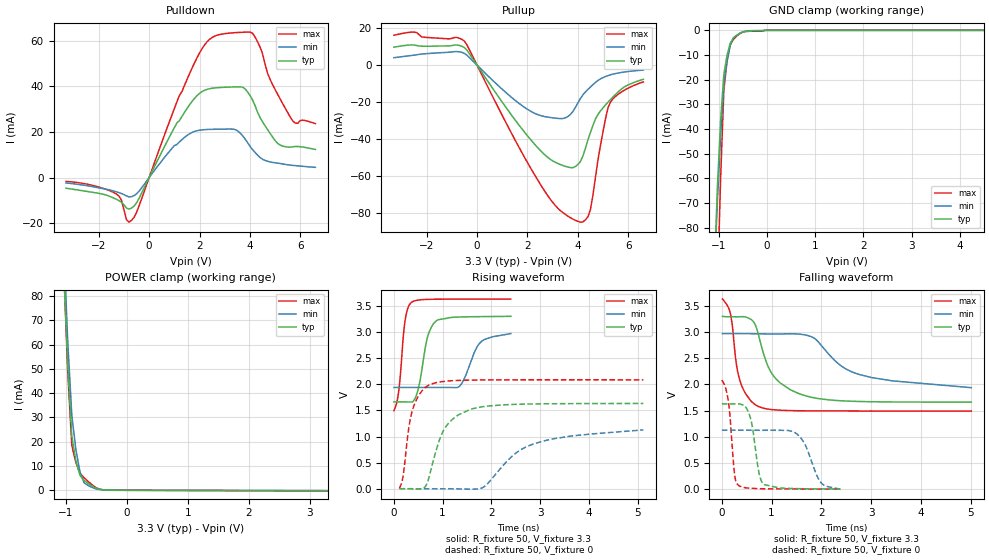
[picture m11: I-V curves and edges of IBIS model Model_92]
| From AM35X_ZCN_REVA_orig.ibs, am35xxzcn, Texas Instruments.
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| Model based on original model for BQ1833DV50BTPBFZP18LL_7LM_X50
|   Sub model LL_7LM_X50_PU_ON_3P3
[model]   Model_92
|[Description]  3.3V-I/O-PU-X
|[Input Load]   PU
|[Output Drive]
|Voltage   3.3V
|Mode   I/O
Model_type   I/O
Polarity   Non-Inverting
Enable   Active-Low
Vinl =  0.8V
Vinh =  2V
Cref =  15pF
Rref =  100.0000M
Vref =  0V
Vmeas =  1.65
C_comp   1.683006p   1.492615p   1.787227p
[Model Spec]
Vinl   0.8V   0.8V   0.8V
Vinh   2V   2V   2V
[Temperature Range]   25   125   -40
[Voltage Range]   3.3   2.97   3.63
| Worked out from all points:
|   slope of the pulldown table from 0 to 0.495 V, typ, clamps not added: 44.5 ohm
|   slope of the pullup table from 0 to 0.495 V, typ, clamps not added: 49.1 ohm
|   GND clamp passes 1 mA (typ) near -0.54 V on its own axis
|   POWER clamp passes 1 mA (typ) near -0.51 V on its own axis
|   rising waveform, R_fixture 50, V_fixture 3.3: 20-80 % time 195ps typ, 279ps min, 122ps max; typ from 1.66 V to 3.3 V
|   rising waveform, R_fixture 50, V_fixture 0: 20-80 % time 425ps typ, 985ps min, 232ps max; typ from 0.004 V to 1.63 V
|   falling waveform, R_fixture 50, V_fixture 3.3: 20-80 % time 506ps typ, 970ps min, 226ps max; typ from 3.3 V to 1.66 V
|   falling waveform, R_fixture 50, V_fixture 0: 20-80 % time 155ps typ, 285ps min, 110ps max; typ from 1.63 V to 0.004 V
[POWER_clamp]
-3.3V     2.414A     2.856A     2.597A
-1.033V   91.31mA    100.7mA    91.95mA
-966.7mV  51.54mA    61.16mA    48.61mA
-900mV    22.22mA    30.81mA    18.41mA
-833.3mV  12.23mA    16.81mA    11.41mA
-766.7mV  6.164mA    7.579mA    7.005mA
-700mV    4.037mA    3.125mA    5.188mA
-566.7mV  1.798mA    1.149mA    2.234mA
-500mV    861.2uA    550uA      976.7uA
-433.3mV  389uA      264.1uA    415.9uA
-300mV    24.95uA    21.88uA    29.19uA
3.3V      -177.5uA   -135.7uA   -277.3uA
[Pulldown]
-3.3V     -4.669mA   -2.345mA   -1.683mA
-1.3V     -9.527mA   -6.237mA   -7.18mA
-900mV    -13.33mA   -8.044mA   -18.4mA
-700mV    -13.38mA   -8.364mA   -18.74mA
1.8V      34.72mA    20.23mA    50.28mA
2.3V      38.67mA    21.09mA    59.54mA
2.8V      39.47mA    21.22mA    62.74mA
3.5V      39.76mA    20.55mA    63.58mA
4.1V      34.11mA    12.32mA    63.3mA
5V        16.21mA    6.486mA    38.59mA
5.7V      13.47mA    5.354mA    24.85mA
6.6V      12.34mA    4.484mA    23.64mA
[Pullup]
-3.3V     9.738mA    4.045mA    16.21mA
-2.5V     10.91mA    5.432mA    17.94mA
-500mV    9.5mA      6.347mA    12.96mA
1.4V      -27.68mA   -17.82mA   -37.78mA
2.4V      -44.64mA   -26.76mA   -62.11mA
3.5V      -54.84mA   -28.6mA    -80.92mA
4.1V      -52.27mA   -18.13mA   -85.16mA
4.5V      -36.47mA   -11.82mA   -78.34mA
5V        -23.1mA    -6.724mA   -36.03mA
5.2V      -20.04mA   -5.652mA   -22.93mA
5.3V      -18.59mA   -5.203mA   -19.89mA
6.6V      -7.68mA    -2.683mA   -9.05mA
[GND_clamp]
-3.3V     -1.975A    -1.766A    -3.378A
-1.1V     -99.48mA   -100.9mA   -162.1mA
-1.033V   -63.84mA   -69.36mA   -106.2mA
-966.7mV  -36.69mA   -43.1mA    -60.36mA
-900mV    -18.03mA   -22.07mA   -24.57mA
-833.3mV  -10.17mA   -12.45mA   -12.64mA
-766.7mV  -5.227mA   -6.105mA   -5.683mA
-700mV    -3.195mA   -3.025mA   -3.716mA
-566.7mV  -1.239mA   -1.189mA   -1.328mA
-500mV    -580.8uA   -609.1uA   -631uA
-33.33mV  0A         0A         0A
6.6V      0A         0A         0A
[Ramp]
dV/dt_f 0.98252049/0.49548542n  0.6183508/0.96014624n  1.2814726/0.22462786n
dV/dt_r 0.98259654/0.4236438n 0.68007419/0.97384101n  1.2529834/0.23145144n
R_load = 50
[Rising Waveform]
R_fixture = 50
V_fixture = 3.3
V_fixture_min = 2.97
V_fixture_max = 3.63
2.169ps   1.662V     1.939V     1.494V
108.3ps   1.662V     1.939V     1.927V
231.1ps   1.662V     1.939V     3.214V
358.4ps   1.661V     1.939V     3.564V
497.7ps   1.9V       1.939V     3.61V
701.9ps   2.938V     1.939V     3.624V
872.9ps   3.215V     1.939V     3.627V
1.334ns   3.286V     1.953V     3.629V
1.78ns    3.294V     2.805V     3.63V
2.399ns   3.3V       2.97V      3.63V
[Rising Waveform]
R_fixture = 50
V_fixture = 0
V_fixture_min = 0
V_fixture_max = 0
116.9ps   4.128mV    2.524mV    5.94mV
187.8ps   4.131mV    2.524mV    231mV
303.9ps   3.865mV    2.524mV    1.141V
388ps     369.2uV    2.524mV    1.525V
618.6ps   19.54mV    2.524mV    1.917V
738.9ps   282.2mV    2.524mV    1.993V
1.036ns   1.146V     2.535mV    2.057V
1.567ns   1.52V      -5.015mV   2.08V
2.871ns   1.624V     861.9mV    2.086V
5.117ns   1.634V     1.128V     2.085V
[Falling Waveform]
R_fixture = 50
V_fixture = 3.3
V_fixture_min = 2.97
V_fixture_max = 3.63
12.97ps   3.3V       2.97V      3.63V
173ps     3.292V     2.97V      3.347V
293.2ps   3.291V     2.97V      2.383V
373.4ps   3.293V     2.97V      2.045V
625.5ps   3.209V     2.968V     1.649V
738.6ps   2.94V      2.966V     1.579V
1.042ns   2.159V     2.964V     1.518V
1.668ns   1.789V     2.947V     1.497V
2.753ns   1.676V     2.193V     1.494V
5.013ns   1.662V     1.939V     1.494V
[Falling Waveform]
R_fixture = 50
V_fixture = 0
V_fixture_min = 0
V_fixture_max = 0
0s        1.634V     1.128V     2.085V
123.1ps   1.63V      1.128V     1.722V
255.6ps   1.63V      1.128V     291.4mV
336.9ps   1.63V      1.128V     73.54mV
568.1ps   1.382V     1.127V     20.65mV
747.7ps   311.6mV    1.126V     12.73mV
849.3ps   89.23mV    1.126V     9.959mV
1.514ns   13.2mV     1.052V     6.074mV
1.987ns   7.419mV    133.7mV    5.958mV
2.386ns   4.128mV    2.524mV    5.94mV
